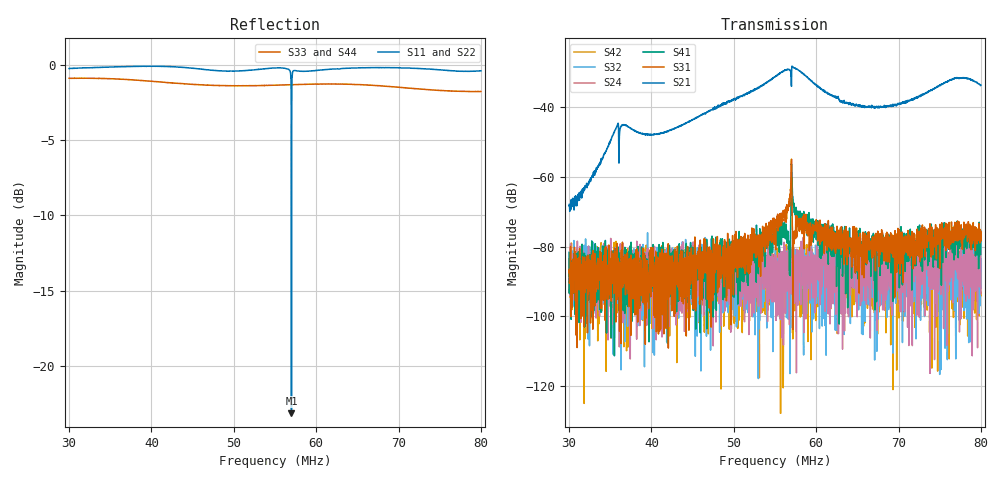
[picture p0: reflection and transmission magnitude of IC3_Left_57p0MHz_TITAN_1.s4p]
#  HZ  S  DB  R  50.00
! Rohde & Schwarz Vector Network Analyzer
! Rohde-Schwarz,ZNB8-4Port,1311601044102961,2.82
! Created: UTC 2/8/2019, 4:21:50 PM
! freq[Hz]  db:S11  ang:S11  db:S12  ang:S12  db:S13  ang:S13  db:S14  ang:S14
!  db:S21  ang:S21  db:S22  ang:S22  db:S23  ang:S23  db:S24  ang:S24
!  db:S31  ang:S31  db:S32  ang:S32  db:S33  ang:S33  db:S34  ang:S34
!  db:S41  ang:S41  db:S42  ang:S42  db:S43  ang:S43  db:S44  ang:S44
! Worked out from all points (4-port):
!   2001 points, 30 MHz to 80 MHz, reference 50 ohm
!   strongest paths, dB at 30 MHz, 42.5 MHz, 55 MHz, 67.5 MHz, 80 MHz:
!     S21: -67.9, -46.4, -31.3, -39.9, -33.7
!     S31: -87.4, -94.1, -73.1, -75.9, -78.2
!     S41: -81.6, -86.0, -74.6, -80.3, -75.6
!     S24: -92.8, -87.1, -86.4, -81.8, -93.6
!     S32: -88.0, -87.6, -84.6, -83.9, -83.5
!     S42: -89.4, -86.6, -92.0, -95.6, -93.1
!   lowest |S11| = -23.2 dB at 57 MHz (marker M1), VSWR 1.15, Z = 44.9 + j4.24 ohm
!   |S11| at or under -10 dB: 56.98336 MHz to 57.01723 MHz (33.86 kHz wide, 0.0594 % of centre)
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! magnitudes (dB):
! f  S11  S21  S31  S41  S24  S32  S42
! 30 MHz  -0.2  -67.9  -87.4  -81.6  -92.8  -88.0  -89.4
! 35.75 MHz  -0.1  -45.7  -87.8  -90.2  -90.2  -86.8  -90.5
! 52.88 MHz  -0.3  -34.6  -78.4  -79.2  -92.0  -85.4  -98.7
! 56.62 MHz  -0.3  -29.1  -68.1  -75.6  -87.6  -84.3  -93.3
! 57 MHz  -23.2  -34.0  -54.9  -56.2  -93.5  -91.8  -89.1
! 57.38 MHz  -0.4  -28.8  -77.9  -69.0  -86.5  -83.9  -86.9
! 80 MHz  -0.4  -33.7  -78.2  -75.6  -93.6  -83.5  -93.1
